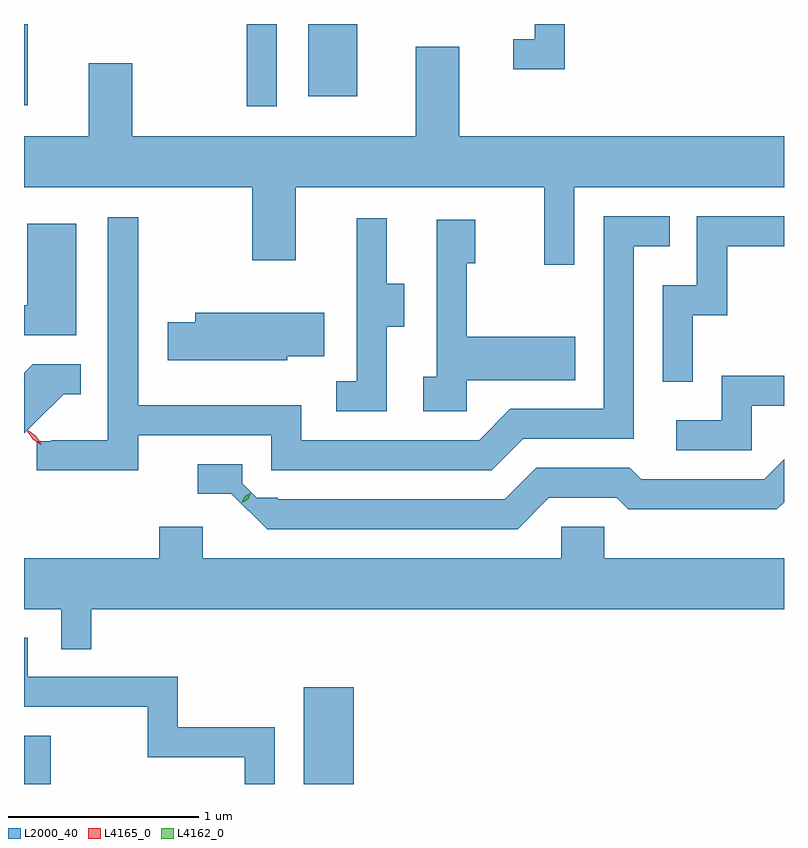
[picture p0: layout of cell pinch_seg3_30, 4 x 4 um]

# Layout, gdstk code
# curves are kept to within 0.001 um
import gdstk
lib = gdstk.Library(unit=1e-6, precision=1e-09)
def R(c, l, rs):  # rectangles x0, y0, x1, y1
    for r in rs: c.add(gdstk.rectangle(r[:2], r[2:], *l))
def P(c, l, *ps):  # polygons
    for p in ps: c.add(gdstk.Polygon(p, *l))
L2000_40 = (2000, 40)
L4162_0 = (4162, 0)
L4165_0 = (4165, 0)

pinch_seg3_30 = lib.new_cell('pinch_seg3_30')
R(pinch_seg3_30, L2000_40, [(1879.509,1162.835,1879.649,1163.089), (1880.981,1162.835,1881.244,1163.344), (1880.681,1166.403,1880.839,1166.835), (1879.509,1166.408,1879.529,1166.835), (1881.006,1166.456,1881.264,1166.835)])
P(pinch_seg3_30, L2000_40, [(1882.354,1166.835),(1882.196,1166.835),(1882.196,1166.754),(1882.083,1166.754),(1882.083,1166.596),(1882.354,1166.596)],
  [(1882.404,1165.976),(1883.509,1165.976),(1883.509,1166.244),(1881.799,1166.244),(1881.799,1166.714),(1881.571,1166.714),(1881.571,1166.244),(1880.079,1166.244),(1880.079,1166.629),(1879.851,1166.629),(1879.851,1166.244),(1879.509,1166.244),(1879.509,1165.976),(1880.711,1165.976),(1880.711,1165.591),(1880.939,1165.591),(1880.939,1165.976),(1882.246,1165.976),(1882.246,1165.568),(1882.404,1165.568)],
  [(1883.029,1165.301),(1883.209,1165.301),(1883.209,1165.666),(1883.509,1165.666),(1883.509,1165.824),(1883.051,1165.824),(1883.051,1165.459),(1882.871,1165.459),(1882.871,1164.953),(1883.029,1164.953)],
  [(1880.109,1164.671),(1880.811,1164.671),(1880.811,1164.486),(1881.972,1164.486),(1882.137,1164.651),(1882.719,1164.651),(1882.719,1165.666),(1882.908,1165.666),(1882.908,1165.824),(1882.561,1165.824),(1882.561,1164.809),(1882.069,1164.809),(1881.904,1164.644),(1880.969,1164.644),(1880.969,1164.829),(1880.109,1164.829),(1880.109,1165.818),(1879.951,1165.818),(1879.951,1164.644),(1879.652,1164.644),(1879.652,1164.64),(1879.577,1164.64),(1879.577,1164.486),(1880.109,1164.486)],
  [(1881.419,1165.241),(1881.509,1165.241),(1881.509,1165.469),(1881.419,1165.469),(1881.419,1165.813),(1881.261,1165.813),(1881.261,1164.954),(1881.153,1164.954),(1881.153,1164.796),(1881.419,1164.796)],
  [(1881.839,1164.961),(1882.409,1164.961),(1882.409,1165.189),(1881.839,1165.189),(1881.839,1165.576),(1881.884,1165.576),(1881.884,1165.804),(1881.681,1165.804),(1881.681,1164.979),(1881.611,1164.979),(1881.611,1164.796),(1881.839,1164.796)],
  [(1879.784,1165.784),(1879.526,1165.784),(1879.526,1165.354),(1879.509,1165.354),(1879.509,1165.196),(1879.784,1165.196)],
  [(1880.894,1165.086),(1881.089,1165.086),(1881.089,1165.314),(1880.411,1165.314),(1880.411,1165.264),(1880.266,1165.264),(1880.266,1165.066),(1880.894,1165.066)],
  [(1879.646,1164.819),(1879.649,1164.817),(1879.719,1164.886),(1879.808,1164.886),(1879.808,1165.044),(1879.554,1165.044),(1879.509,1164.999),(1879.509,1164.682)],
  [(1883.339,1164.826),(1883.509,1164.826),(1883.509,1164.984),(1883.181,1164.984),(1883.181,1164.749),(1882.943,1164.749),(1882.943,1164.591),(1883.339,1164.591)],
  [(1882.272,1164.341),(1882.629,1164.341),(1882.689,1164.281),(1883.472,1164.281),(1883.509,1164.318),(1883.509,1164.544),(1883.404,1164.439),(1882.757,1164.439),(1882.697,1164.499),(1882.204,1164.499),(1882.039,1164.334),(1880.845,1164.334),(1880.845,1164.341),(1880.734,1164.341),(1880.658,1164.417),(1880.658,1164.519),(1880.423,1164.519),(1880.423,1164.362),(1880.601,1164.362),(1880.789,1164.176),(1882.107,1164.176)],
  [(1879.864,1163.756),(1883.509,1163.756),(1883.509,1164.024),(1882.564,1164.024),(1882.564,1164.189),(1882.336,1164.189),(1882.336,1164.024),(1880.449,1164.024),(1880.449,1164.189),(1880.221,1164.189),(1880.221,1164.024),(1879.509,1164.024),(1879.509,1163.756),(1879.706,1163.756),(1879.706,1163.543),(1879.864,1163.543)],
  [(1880.829,1163.134),(1880.319,1163.134),(1880.319,1163.399),(1879.529,1163.399),(1879.529,1163.604),(1879.509,1163.604),(1879.509,1163.241),(1880.161,1163.241),(1880.161,1162.976),(1880.671,1162.976),(1880.671,1162.835),(1880.829,1162.835)])
P(pinch_seg3_30, L4162_0, [(1880.654,1164.315),(1880.654,1164.316),(1880.671,1164.349),(1880.702,1164.368),(1880.703,1164.368),(1880.703,1164.368),(1880.686,1164.335),(1880.654,1164.315)],
  [(1880.662,1164.319),(1880.662,1164.32),(1880.674,1164.346),(1880.699,1164.36),(1880.7,1164.36),(1880.7,1164.36),(1880.688,1164.333),(1880.663,1164.319)])
P(pinch_seg3_30, L4165_0, [(1879.602,1164.62),(1879.559,1164.652),(1879.53,1164.698),(1879.53,1164.698),(1879.531,1164.698),(1879.574,1164.666),(1879.603,1164.621),(1879.603,1164.62)],
  [(1879.598,1164.62),(1879.556,1164.649),(1879.527,1164.691),(1879.527,1164.692),(1879.528,1164.692),(1879.57,1164.663),(1879.598,1164.621),(1879.598,1164.62)])

lib.write_gds('pinch_seg3_30.gds')
